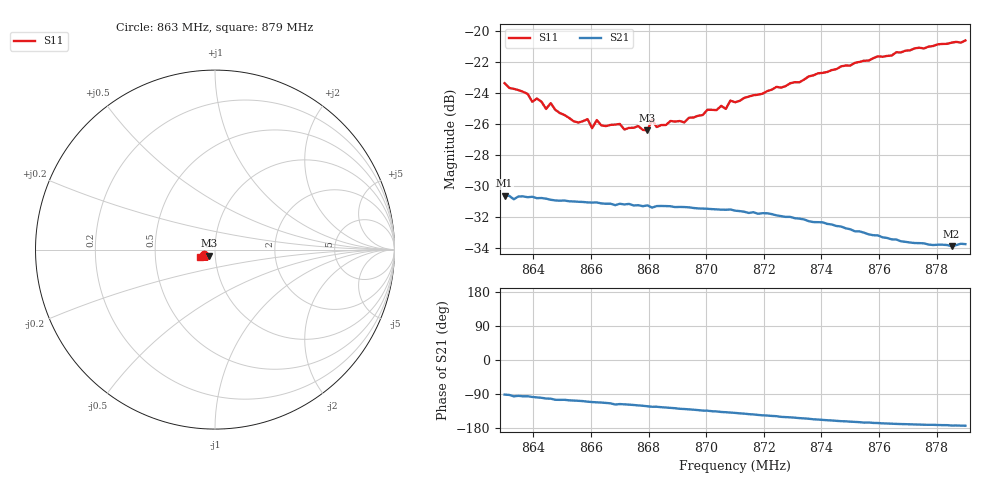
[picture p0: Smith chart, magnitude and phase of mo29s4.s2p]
# HZ S RI R 50
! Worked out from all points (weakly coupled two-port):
!   101 points, 863 MHz to 879 MHz, reference 50 ohm
!   highest |S21| = -30.64 dB at 863 MHz (marker M1); lowest = -33.9 dB at 878.52 MHz (marker M2)
!   lowest |S11| = -26.4 dB at 867.96 MHz (marker M3), VSWR 1.10, Z = 46.6 - j3.15 ohm
!   |S11| at or under -10 dB: start of sweep to end of sweep
!   S12 and S22 are empty: the file has one direction only
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8.63e8  -0.0596 -0.0323  -0.000637 -0.0294  0 0  0 0
8.638e8  -0.0545 -0.0308  -0.00285 -0.0289  0 0  0 0
8.6396e8  -0.0512 -0.0294  -0.00383 -0.0289  0 0  0 0
8.6412e8  -0.0533 -0.0287  -0.00436 -0.0285  0 0  0 0
8.6444e8  -0.0484 -0.0282  -0.00581 -0.0282  0 0  0 0
8.646e8  -0.0503 -0.0298  -0.00594 -0.0279  0 0  0 0
8.654e8  -0.0423 -0.0286  -0.00825 -0.0269  0 0  0 0
8.6572e8  -0.0411 -0.0305  -0.0089 -0.0266  0 0  0 0
8.6588e8  -0.0427 -0.0296  -0.00952 -0.0263  0 0  0 0
8.6604e8  -0.0387 -0.0293  -0.01 -0.0261  0 0  0 0
8.662e8  -0.0415 -0.0306  -0.0103 -0.026  0 0  0 0
8.6636e8  -0.039 -0.0306  -0.0105 -0.0257  0 0  0 0
8.6796e8  -0.0338 -0.0337  -0.0145 -0.0232  0 0  0 0
8.6812e8  -0.0351 -0.0379  -0.0148 -0.0225  0 0  0 0
8.6828e8  -0.033 -0.0361  -0.015 -0.0227  0 0  0 0
8.6844e8  -0.0329 -0.0372  -0.0154 -0.0224  0 0  0 0
8.6924e8  -0.0317 -0.0395  -0.0171 -0.0209  0 0  0 0
8.71e8  -0.034 -0.048  -0.02 -0.0171  0 0  0 0
8.7372e8  -0.0446 -0.0564  -0.0222 -0.00964  0 0  0 0
8.7644e8  -0.0633 -0.0542  -0.0208 -0.00437  0 0  0 0
8.7852e8  -0.0787 -0.0469  -0.02 -0.00249  0 0  0 0
8.79e8  -0.0826 -0.0432  -0.0204 -0.00232  0 0  0 0
